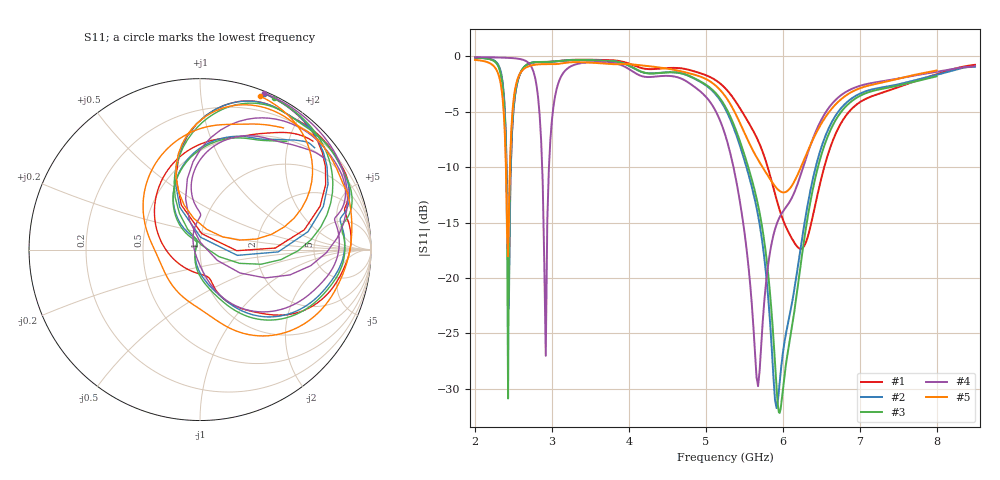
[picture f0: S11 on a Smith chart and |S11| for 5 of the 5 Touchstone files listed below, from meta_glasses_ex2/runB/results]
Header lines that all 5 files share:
! Generated by Hertzon (EMerge FEM)
# HZ S RI R 50
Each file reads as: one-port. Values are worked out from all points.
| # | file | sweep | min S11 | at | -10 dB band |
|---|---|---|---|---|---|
| 1 | B1_S11_sweep.s1p | 2 GHz to 8.5 GHz | -20.5 dB | 2.44 GHz | 735.2 MHz wide |
| 2 | B2_S11_sweep.s1p | 2 GHz to 8.5 GHz | -31.8 dB | 5.92 GHz | 899.9 MHz wide |
| 3 | B3_S11_sweep.s1p | 2 GHz to 8 GHz | -32.2 dB | 5.96 GHz | 905.7 MHz wide |
| 4 | C1_S11_sweep.s1p | 2 GHz to 8.5 GHz | -29.8 dB | 5.68 GHz | 906.1 MHz wide |
| 5 | Final_S11_sweep.s1p | 2 GHz to 8 GHz | -18.1 dB | 2.43 GHz | 499.7 MHz wide |
